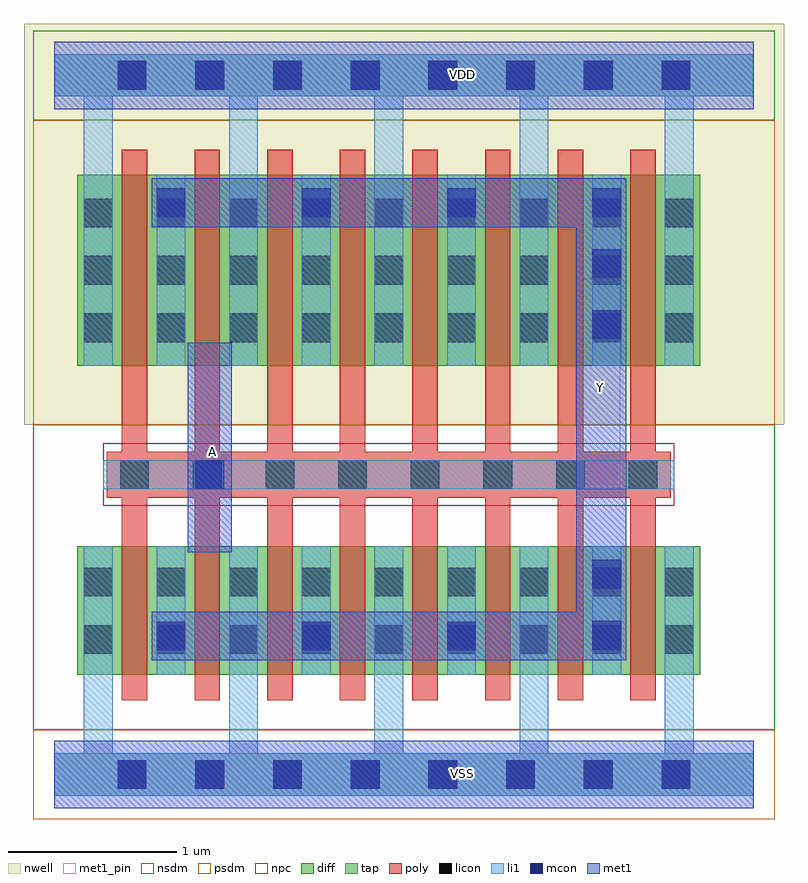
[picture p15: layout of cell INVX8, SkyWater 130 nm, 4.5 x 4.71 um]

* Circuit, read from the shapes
.subckt INVX8 A VDD VSS Y
XM1 Y A VSS VSS sky130_fd_pr__nfet_01v8 w=0.76 l=0.15 m=8
XM2 Y A VDD VDD sky130_fd_pr__pfet_01v8 w=1.13 l=0.15 m=8
.ends

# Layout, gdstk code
from math import pi, radians
import gdstk
lib = gdstk.Library(unit=1e-6, precision=1e-09)
def R(c, l, rs):  # rectangles x0, y0, x1, y1
    for r in rs: c.add(gdstk.rectangle(r[:2], r[2:], *l))
def A(c, l, x, y, w, h, nx, ny, dx, dy):  # array of equal rectangles
    R(c, l, [(x+i*dx, y+j*dy, x+i*dx+w, y+j*dy+h) for i in range(nx) for j in range(ny)])
nwell = (64, 20)
diff = (65, 20)
tap = (65, 44)
poly = (66, 20)
licon = (66, 44)
li1 = (67, 20)
mcon = (67, 44)
met1_pin = (68, 16)
met1 = (68, 20)
nsdm = (93, 44)
psdm = (94, 20)
npc = (95, 20)

pfet_01v8_cdns_716492285 = lib.new_cell('pfet_01v8_CDNS_71649228522186')
R(pfet_01v8_cdns_716492285, nwell, [(-0.445,-0.18,3.605,1.31)])
A(pfet_01v8_cdns_716492285, diff, 0, 0, 0.15, 1.13, 8, 1, 0.43, 0)
A(pfet_01v8_cdns_716492285, diff, 0.15, 0, 0.28, 1.13, 7, 1, 0.43, 0)
R(pfet_01v8_cdns_716492285, diff, [(-0.265,0,0,1.13), (3.16,0,3.425,1.13)])
A(pfet_01v8_cdns_716492285, poly, 0, -0.15, 0.15, 0.055, 8, 2, 0.43, 1.375)
A(pfet_01v8_cdns_716492285, poly, 0, -0.095, 0.15, 0.095, 8, 2, 0.43, 1.225)
A(pfet_01v8_cdns_716492285, poly, 0, 0, 0.15, 1.13, 8, 1, 0.43, 0)
A(pfet_01v8_cdns_716492285, licon, -0.225, 0.14, 0.17, 0.17, 9, 3, 0.43, 0.34)
A(pfet_01v8_cdns_716492285, li1, -0.225, 0, 0.17, 1.13, 9, 1, 0.43, 0)
R(pfet_01v8_cdns_716492285, psdm, [(-0.405,-0.13,3.565,1.26)])

nfet_01v8_cdns_716492285 = lib.new_cell('nfet_01v8_CDNS_7164922852264')
A(nfet_01v8_cdns_716492285, diff, 0, 0, 0.15, 0.76, 8, 1, 0.43, 0)
A(nfet_01v8_cdns_716492285, diff, 0.15, 0, 0.28, 0.76, 7, 1, 0.43, 0)
R(nfet_01v8_cdns_716492285, diff, [(-0.265,0,0,0.76), (3.16,0,3.425,0.76)])
A(nfet_01v8_cdns_716492285, poly, 0, -0.15, 0.15, 0.055, 8, 2, 0.43, 1.005)
A(nfet_01v8_cdns_716492285, poly, 0, -0.095, 0.15, 0.095, 8, 2, 0.43, 0.855)
A(nfet_01v8_cdns_716492285, poly, 0, 0, 0.15, 0.76, 8, 1, 0.43, 0)
A(nfet_01v8_cdns_716492285, licon, -0.225, 0.125, 0.17, 0.17, 9, 2, 0.43, 0.34)
A(nfet_01v8_cdns_716492285, li1, -0.225, 0, 0.17, 0.76, 9, 1, 0.43, 0)
R(nfet_01v8_cdns_716492285, nsdm, [(-0.405,-0.13,3.565,0.89)])

l1m1_c_cdns_716492285222 = lib.new_cell('L1M1_C_CDNS_716492285222')
R(l1m1_c_cdns_716492285222, li1, [(-0.085,-0.165,0.085,0.165)])
R(l1m1_c_cdns_716492285222, mcon, [(-0.085,-0.085,0.085,0.085)])
R(l1m1_c_cdns_716492285222, met1, [(-0.115,-0.145,0.115,0.145)])

l1m1_c_cdns_716492285223 = lib.new_cell('L1M1_C_CDNS_716492285223')
R(l1m1_c_cdns_716492285223, li1, [(-0.165,-0.085,0.165,0.085)])
R(l1m1_c_cdns_716492285223, mcon, [(-0.085,-0.085,0.085,0.085)])
R(l1m1_c_cdns_716492285223, met1, [(-0.115,-0.145,0.115,0.145)])

l1m1_c_cdns_716492285225 = lib.new_cell('L1M1_C_CDNS_716492285225')
R(l1m1_c_cdns_716492285225, li1, [(-0.085,-0.345,0.085,0.345)])
R(l1m1_c_cdns_716492285225, mcon, [(-0.085,-0.265,0.085,-0.095), (-0.085,0.095,0.085,0.265)])
R(l1m1_c_cdns_716492285225, met1, [(-0.115,-0.325,0.115,0.325)])

pyl1con_c_cdns_716492285 = lib.new_cell('PYL1CON_C_CDNS_716492285220')
R(pyl1con_c_cdns_716492285, poly, [(-0.135,-0.165,0.135,0.165)])
R(pyl1con_c_cdns_716492285, licon, [(-0.085,-0.085,0.085,0.085)])
R(pyl1con_c_cdns_716492285, npc, [(-0.185,-0.185,0.185,0.185)])

l1m1_c_cdns_716492285224 = lib.new_cell('L1M1_C_CDNS_716492285224')
R(l1m1_c_cdns_716492285224, li1, [(-0.085,-0.525,0.085,0.525)])
A(l1m1_c_cdns_716492285224, mcon, -0.085, -0.445, 0.17, 0.17, 1, 3, 0, 0.36)
R(l1m1_c_cdns_716492285224, met1, [(-0.115,-0.505,0.115,0.505)])

invx8 = lib.new_cell('INVX8')
R(invx8, nwell, [(-0.18,2.07,4.32,4.305), (-0.18,3.875,4.32,4.445)])
A(invx8, licon, 0.375, -0.085, 0.17, 0.17, 8, 2, 0.46, 4.14)
A(invx8, mcon, 0.375, -0.085, 0.17, 0.17, 8, 2, 0.46, 4.14)
R(invx8, met1_pin, [(0.79,1.315,1.05,2.555), (3.09,1.695,3.35,2.935)])
R(invx8, met1, [(3.095,0.675,3.385,3.53)])
R(invx8, nsdm, [(-0.125,0.265,4.265,2.07), (-0.125,3.875,4.265,4.405), (-0.125,3.93,4.265,4.35)])
R(invx8, psdm, [(-0.125,-0.265,4.265,0.265), (-0.125,-0.21,4.265,0.21), (-0.125,2.07,4.265,3.875)])
R(invx8, npc, [(0.29,1.59,3.67,1.96)])
invx8.add(gdstk.FlexPath([(3.485,1.775),(3.485,1.44)], 0.15, ends=(0.135, 0), simple_path=True, layer=66, datatype=20))  # poly
invx8.add(gdstk.FlexPath([(2.625,1.775),(2.625,1.44)], 0.15, ends=(0.135, 0), simple_path=True, layer=66, datatype=20))  # poly
invx8.add(gdstk.FlexPath([(3.055,1.775),(3.055,1.44)], 0.15, ends=(0.135, 0), simple_path=True, layer=66, datatype=20))  # poly
invx8.add(gdstk.FlexPath([(0.475,1.775),(0.475,1.44)], 0.15, ends=(0.135, 0), simple_path=True, layer=66, datatype=20))  # poly
invx8.add(gdstk.FlexPath([(0.905,1.775),(0.905,1.44)], 0.15, ends=(0.135, 0), simple_path=True, layer=66, datatype=20))  # poly
invx8.add(gdstk.FlexPath([(2.195,1.775),(2.195,1.44)], 0.15, ends=(0.135, 0), simple_path=True, layer=66, datatype=20))  # poly
invx8.add(gdstk.FlexPath([(1.335,1.775),(1.335,1.44)], 0.15, ends=(0.135, 0), simple_path=True, layer=66, datatype=20))  # poly
invx8.add(gdstk.FlexPath([(1.765,1.775),(1.765,1.44)], 0.15, ends=(0.135, 0), simple_path=True, layer=66, datatype=20))  # poly
invx8.add(gdstk.FlexPath([(0.31,1.775),(3.61,1.775)], 0.27, ends="flush", simple_path=True, layer=66, datatype=20))  # poly
invx8.add(gdstk.FlexPath([(3.485,2.325),(3.485,1.775)], 0.15, ends=(0, 0.135), simple_path=True, layer=66, datatype=20))  # poly
invx8.add(gdstk.FlexPath([(3.055,2.325),(3.055,1.775)], 0.15, ends=(0, 0.135), simple_path=True, layer=66, datatype=20))  # poly
invx8.add(gdstk.FlexPath([(2.625,2.325),(2.625,1.775)], 0.15, ends=(0, 0.135), simple_path=True, layer=66, datatype=20))  # poly
invx8.add(gdstk.FlexPath([(2.195,2.325),(2.195,1.775)], 0.15, ends=(0, 0.135), simple_path=True, layer=66, datatype=20))  # poly
invx8.add(gdstk.FlexPath([(1.765,2.325),(1.765,1.775)], 0.15, ends=(0, 0.135), simple_path=True, layer=66, datatype=20))  # poly
invx8.add(gdstk.FlexPath([(1.335,2.325),(1.335,1.775)], 0.15, ends=(0, 0.135), simple_path=True, layer=66, datatype=20))  # poly
invx8.add(gdstk.FlexPath([(0.905,2.325),(0.905,1.775)], 0.15, ends=(0, 0.135), simple_path=True, layer=66, datatype=20))  # poly
invx8.add(gdstk.FlexPath([(0.475,2.325),(0.475,1.775)], 0.15, ends=(0, 0.135), simple_path=True, layer=66, datatype=20))  # poly
invx8.add(gdstk.FlexPath([(0.29,1.775),(3.67,1.775)], 0.17, ends="flush", simple_path=True, layer=67, datatype=20))  # li1
invx8.add(gdstk.FlexPath([(2.47,0),(3.42,0)], 0.25, ends=(0.085, 0.085), simple_path=True, layer=67, datatype=20))  # li1
invx8.add(gdstk.FlexPath([(0,0),(0.69,0)], 0.25, ends=(0, 0.085), simple_path=True, layer=67, datatype=20))  # li1
invx8.add(gdstk.FlexPath([(3.42,0),(4.055,0)], 0.25, ends=(0.085, 0.085), simple_path=True, layer=67, datatype=20))  # li1
invx8.add(gdstk.FlexPath([(0.69,0),(2.47,0)], 0.25, ends=(0.085, 0.085), simple_path=True, layer=67, datatype=20))  # li1
invx8.add(gdstk.FlexPath([(4.055,0),(4.14,0)], 0.25, ends=(0.085, 0), simple_path=True, layer=67, datatype=20))  # li1
invx8.add(gdstk.FlexPath([(3.7,0.59),(3.7,0)], 0.17, ends="flush", simple_path=True, layer=67, datatype=20))  # li1
invx8.add(gdstk.FlexPath([(2.84,0.59),(2.84,0)], 0.17, ends="flush", simple_path=True, layer=67, datatype=20))  # li1
invx8.add(gdstk.FlexPath([(1.98,0.59),(1.98,0)], 0.17, ends="flush", simple_path=True, layer=67, datatype=20))  # li1
invx8.add(gdstk.FlexPath([(1.12,0.59),(1.12,0)], 0.17, ends="flush", simple_path=True, layer=67, datatype=20))  # li1
invx8.add(gdstk.FlexPath([(0.26,0.59),(0.26,0)], 0.17, ends="flush", simple_path=True, layer=67, datatype=20))  # li1
invx8.add(gdstk.FlexPath([(3.7,3.55),(3.7,4.14)], 0.17, ends="flush", simple_path=True, layer=67, datatype=20))  # li1
invx8.add(gdstk.FlexPath([(2.84,3.55),(2.84,4.14)], 0.17, ends="flush", simple_path=True, layer=67, datatype=20))  # li1
invx8.add(gdstk.FlexPath([(1.98,3.55),(1.98,4.14)], 0.17, ends="flush", simple_path=True, layer=67, datatype=20))  # li1
invx8.add(gdstk.FlexPath([(1.12,3.55),(1.12,4.14)], 0.17, ends="flush", simple_path=True, layer=67, datatype=20))  # li1
invx8.add(gdstk.FlexPath([(0.26,3.55),(0.26,4.14)], 0.17, ends="flush", simple_path=True, layer=67, datatype=20))  # li1
invx8.add(gdstk.FlexPath([(4.055,4.14),(4.14,4.14)], 0.25, ends=(0.085, 0), simple_path=True, layer=67, datatype=20))  # li1
invx8.add(gdstk.FlexPath([(0.69,4.14),(2.47,4.14)], 0.25, ends=(0.085, 0.085), simple_path=True, layer=67, datatype=20))  # li1
invx8.add(gdstk.FlexPath([(3.42,4.14),(4.055,4.14)], 0.25, ends=(0.085, 0.085), simple_path=True, layer=67, datatype=20))  # li1
invx8.add(gdstk.FlexPath([(0,4.14),(0.69,4.14)], 0.25, ends=(0, 0.085), simple_path=True, layer=67, datatype=20))  # li1
invx8.add(gdstk.FlexPath([(2.47,4.14),(3.42,4.14)], 0.25, ends=(0.085, 0.085), simple_path=True, layer=67, datatype=20))  # li1
invx8.add(gdstk.FlexPath([(0,4.14),(4.14,4.14)], 0.4, ends="flush", simple_path=True, layer=68, datatype=16))  # met1_pin
invx8.add(gdstk.FlexPath([(0,0),(4.14,0)], 0.4, ends="flush", simple_path=True, layer=68, datatype=16))  # met1_pin
invx8.add(gdstk.FlexPath([(0.92,1.315),(0.92,2.555)], 0.26, ends="flush", simple_path=True, layer=68, datatype=20))  # met1
invx8.add(gdstk.FlexPath([(3.22,0.675),(3.22,3.53)], 0.26, ends="flush", simple_path=True, layer=68, datatype=20))  # met1
invx8.add(gdstk.FlexPath([(3.355,3.385),(3.24,3.385)], 0.29, ends=(0, 0.145), simple_path=True, layer=68, datatype=20))  # met1
invx8.add(gdstk.FlexPath([(3.24,0.82),(0.66,0.82)], 0.29, ends=(0.145, 0), simple_path=True, layer=68, datatype=20))  # met1
invx8.add(gdstk.FlexPath([(3.355,0.82),(3.24,0.82)], 0.29, ends=(0, 0.145), simple_path=True, layer=68, datatype=20))  # met1
invx8.add(gdstk.FlexPath([(3.24,3.385),(0.66,3.385)], 0.29, ends=(0.145, 0), simple_path=True, layer=68, datatype=20))  # met1
invx8.add(gdstk.FlexPath([(0,4.14),(4.14,4.14)], 0.4, ends="flush", simple_path=True, layer=68, datatype=20))  # met1
invx8.add(gdstk.FlexPath([(0,0),(4.14,0)], 0.4, ends="flush", simple_path=True, layer=68, datatype=20))  # met1
invx8.add(gdstk.FlexPath([(0,0),(4.14,0)], 0.25, ends="flush", simple_path=True, layer=65, datatype=44))  # tap
invx8.add(gdstk.FlexPath([(0,4.14),(4.14,4.14)], 0.25, ends="flush", simple_path=True, layer=65, datatype=44))  # tap
invx8.add(gdstk.Reference(pfet_01v8_cdns_716492285, (0.4,2.42)))
invx8.add(gdstk.Reference(nfet_01v8_cdns_716492285, (0.4,0.59)))
invx8.add(gdstk.Reference(l1m1_c_cdns_716492285222, (2.41,3.385)))
invx8.add(gdstk.Reference(l1m1_c_cdns_716492285222, (0.69,0.82)))
invx8.add(gdstk.Reference(l1m1_c_cdns_716492285222, (1.55,3.385)))
invx8.add(gdstk.Reference(l1m1_c_cdns_716492285222, (2.41,0.82)))
invx8.add(gdstk.Reference(l1m1_c_cdns_716492285222, (0.69,3.385)))
invx8.add(gdstk.Reference(l1m1_c_cdns_716492285222, (1.55,0.82)))
invx8.add(gdstk.Reference(l1m1_c_cdns_716492285223, (0.92,1.775), x_reflection=True))
invx8.add(gdstk.Reference(l1m1_c_cdns_716492285225, (3.27,1.005)))
invx8.add(gdstk.Reference(pyl1con_c_cdns_716492285, (3.485,1.775), rotation=3*pi/2, x_reflection=True))
invx8.add(gdstk.Reference(pyl1con_c_cdns_716492285, (3.055,1.775), rotation=3*pi/2, x_reflection=True))
invx8.add(gdstk.Reference(pyl1con_c_cdns_716492285, (2.625,1.775), rotation=3*pi/2, x_reflection=True))
invx8.add(gdstk.Reference(pyl1con_c_cdns_716492285, (2.195,1.775), rotation=3*pi/2, x_reflection=True))
invx8.add(gdstk.Reference(pyl1con_c_cdns_716492285, (1.765,1.775), rotation=3*pi/2, x_reflection=True))
invx8.add(gdstk.Reference(pyl1con_c_cdns_716492285, (0.475,1.775), rotation=3*pi/2, x_reflection=True))
invx8.add(gdstk.Reference(pyl1con_c_cdns_716492285, (0.905,1.775), rotation=3*pi/2, x_reflection=True))
invx8.add(gdstk.Reference(pyl1con_c_cdns_716492285, (1.335,1.775), rotation=3*pi/2, x_reflection=True))
invx8.add(gdstk.Reference(l1m1_c_cdns_716492285224, (3.27,3.025)))
invx8.add(gdstk.Label('VSS', (2.415,0.005), layer=68, texttype=5))
invx8.add(gdstk.Label('A', (0.935,1.91), layer=68, texttype=5))
invx8.add(gdstk.Label('Y', (3.235,2.29), layer=68, texttype=5))
invx8.add(gdstk.Label('VDD', (2.415,4.145), layer=68, texttype=5))

lib.write_gds('INVX8.gds')
